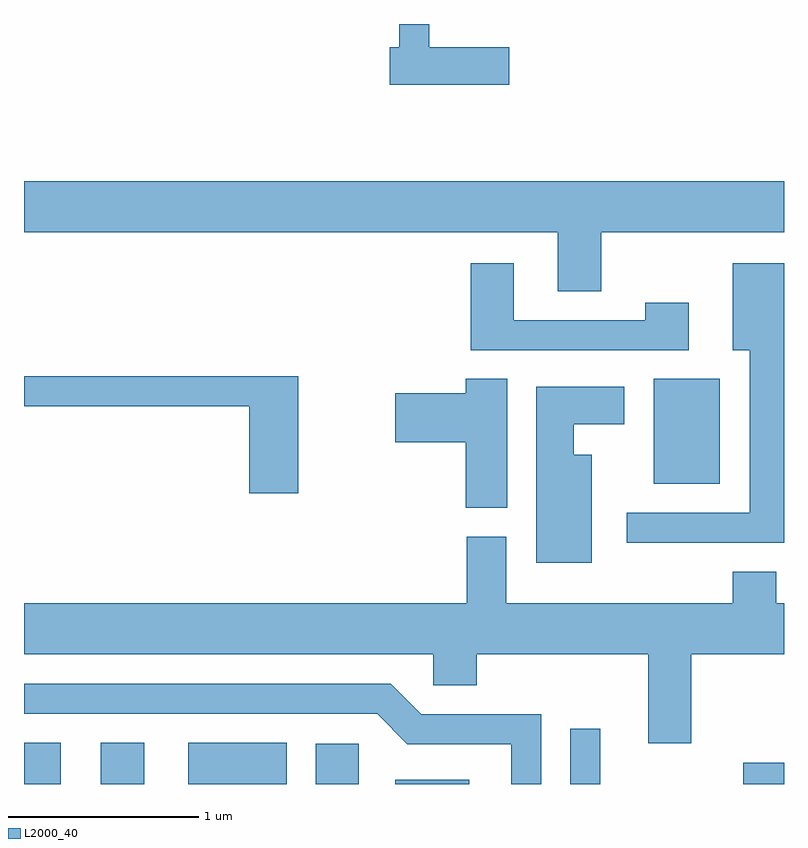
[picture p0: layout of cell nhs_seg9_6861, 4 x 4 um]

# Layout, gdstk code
import gdstk
lib = gdstk.Library(unit=1e-6, precision=1e-09)
def R(c, l, rs):  # rectangles x0, y0, x1, y1
    for r in rs: c.add(gdstk.rectangle(r[:2], r[2:], *l))
def P(c, l, *ps):  # polygons
    for p in ps: c.add(gdstk.Polygon(p, *l))
L2000_40 = (2000, 40)

nhs_seg9_6861 = lib.new_cell('nhs_seg9_6861')
R(nhs_seg9_6861, L2000_40, [(387.611,2024.432,387.804,2024.649), (388.016,2024.432,388.244,2024.649), (388.476,2024.432,388.994,2024.649), (389.146,2024.432,389.374,2024.644), (389.566,2024.432,389.954,2024.454), (390.486,2024.432,390.644,2024.723), (391.396,2024.432,391.611,2024.544), (390.926,2026.011,391.274,2026.564)])
P(nhs_seg9_6861, L2000_40, [(390.164,2028.309),(389.744,2028.309),(389.744,2028.432),(389.586,2028.432),(389.586,2028.309),(389.536,2028.309),(389.536,2028.111),(390.164,2028.111)],
  [(390.649,2027.336),(391.611,2027.336),(391.611,2027.604),(387.611,2027.604),(387.611,2027.336),(390.421,2027.336),(390.421,2027.026),(390.649,2027.026)],
  [(391.611,2027.174),(391.341,2027.174),(391.341,2026.716),(391.431,2026.716),(391.431,2025.859),(390.783,2025.859),(390.783,2025.701),(391.611,2025.701)],
  [(391.109,2026.964),(390.881,2026.964),(390.881,2026.874),(390.189,2026.874),(390.189,2027.174),(389.961,2027.174),(389.961,2026.716),(391.109,2026.716)],
  [(389.054,2026.579),(387.611,2026.579),(387.611,2026.421),(388.796,2026.421),(388.796,2025.961),(389.054,2025.961)],
  [(390.154,2026.564),(389.936,2026.564),(389.936,2026.489),(389.566,2026.489),(389.566,2026.231),(389.936,2026.231),(389.936,2025.886),(390.154,2025.886)],
  [(390.599,2026.164),(390.504,2026.164),(390.504,2026.326),(390.769,2026.326),(390.769,2026.524),(390.306,2026.524),(390.306,2025.596),(390.599,2025.596)],
  [(391.124,2025.116),(391.611,2025.116),(391.611,2025.384),(391.569,2025.384),(391.569,2025.549),(391.341,2025.549),(391.341,2025.384),(390.149,2025.384),(390.149,2025.734),(389.941,2025.734),(389.941,2025.384),(387.611,2025.384),(387.611,2025.116),(389.766,2025.116),(389.766,2024.951),(389.994,2024.951),(389.994,2025.116),(390.896,2025.116),(390.896,2024.646),(391.124,2024.646)],
  [(390.334,2024.799),(389.702,2024.799),(389.542,2024.959),(387.611,2024.959),(387.611,2024.801),(389.469,2024.801),(389.629,2024.641),(390.176,2024.641),(390.176,2024.432),(390.334,2024.432)])

lib.write_gds('nhs_seg9_6861.gds')
